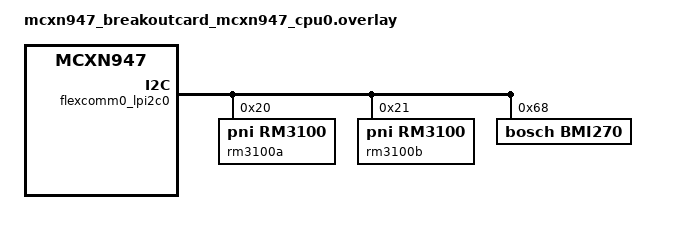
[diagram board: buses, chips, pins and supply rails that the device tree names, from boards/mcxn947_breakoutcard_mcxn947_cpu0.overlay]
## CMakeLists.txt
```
# SPDX-License-Identifier: Apache-2.0
cmake_minimum_required(VERSION 3.20.0)

list(APPEND BOARD_ROOT ${CMAKE_CURRENT_SOURCE_DIR}/)
set(BOARD "mcxn947_mag_card@1.1.0/mcxn947/cpu0")

set(VERSION_MAJOR "1")
set(VERSION_MINOR "1")
set(PATCHLEVEL "0")
set(VERSION_TWEAK "0")
set(EXTRAVERSION "00000000")

find_package(Git QUIET REQUIRED)

execute_process(
    COMMAND "${GIT_EXECUTABLE}" rev-parse --short HEAD
    WORKING_DIRECTORY "${CMAKE_SOURCE_DIR}"
    RESULT_VARIABLE res
    OUTPUT_VARIABLE EXTRAVERSION
    ERROR_QUIET
    OUTPUT_STRIP_TRAILING_WHITESPACE)

set_property(GLOBAL APPEND
    PROPERTY CMAKE_CONFIGURE_DEPENDS
    "${CMAKE_SOURCE_DIR}/.git/index")

set(BOARD_FLASH_RUNNER "probe-rs")
set(BOARD_DEBUG_RUNNER "probe-rs")

#
# utilize settings to autogenerate a header file to adjust the build inside the C code
#
configure_file (
   "${CMAKE_SOURCE_DIR}/src/VERSION.in"
   "${CMAKE_SOURCE_DIR}/VERSION"
   )

find_package(Zephyr REQUIRED HINTS $ENV{ZEPHYR_BASE})

project(oresat_mcxn947_mag)

include_directories("${PROJECT_SOURCE_DIR}") # needed so c code can find this header

target_sources(app PRIVATE src/main.c src/windowed_average.c src/gpios.c)

# Compile in various files depending on Kconfig values.
target_sources_ifdef(CONFIG_DAC_INTF     app PRIVATE src/dac.c)
target_sources_ifdef(CONFIG_ADC_INTF     app PRIVATE src/adc.c)
target_sources_ifdef(CONFIG_PWM_INTF     app PRIVATE src/pwm.c)
target_sources_ifdef(CONFIG_BLINK        app PRIVATE src/blink.c)
target_sources_ifdef(CONFIG_MAG          app PRIVATE src/magnetometer.c)
target_sources_ifdef(CONFIG_IMU_ICM      app PRIVATE src/imu_icm.c)
target_sources_ifdef(CONFIG_IMU_BMI      app PRIVATE src/imu_bmi.c)
target_sources_ifdef(CONFIG_MAGNETORQUERS app PRIVATE src/magnetorquers.c)
target_sources_ifdef(CONFIG_CAN_INTF     app PRIVATE src/can.c)
target_sources_ifdef(CONFIG_CAN_INTF     app PRIVATE src/can_util.c)
target_sources_ifdef(CONFIG_CAN_INTF     app PRIVATE objdict/CO_OD.c)
target_sources_ifdef(CONFIG_SYS_HEAP_RUNTIME_STATS app PRIVATE src/heap_stats.c)
zephyr_include_directories(objdict)
```

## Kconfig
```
# SPDX-License-Identifier: Apache-2.0

menu "Oresat MCXN947 Mag Card"

	config DAC_INTF
		bool "Enable DAC output."
		select DAC
		help
		  Enable use of DAC.

	if DAC_INTF
		module = MAG_DAC
		module-str = Mag DAC
		source "subsys/logging/Kconfig.template.log_config"
	endif # DAC_INTF

	config ADC_INTF
		bool "Enable monitoring one or more ADC channels."
		select ADC
		select DMA
		select ADC_STM32 if SOC_STM32F091XC
		select ADC_STM32_DMA if SOC_STM32F091XC
		select DMA_STM32 if SOC_STM32F091XC
		help
		  Outputs the data scaled to mV.

	if ADC_INTF
		config SEQUENCE_SAMPLES
			int "Number of samples to be made on the sequence for each channel."
			default 1

		config SEQUENCE_OVERSAMPLING
			int "Number of conversion results to average for each sample."
			default 7

		config SEQUENCE_RESOLUTION
			int "Set the resolution of the sequence readings."
			default 12

		config SEQUENCE_32BITS_REGISTERS
			bool "ADC data sequences are on 32bits"
			default n

		module = MAG_ADC
		module-str = Mag ADC
		source "subsys/logging/Kconfig.template.log_config"
	endif  # ADC_INTF

	config PWM_INTF
		bool "Enable PWM output."
		select PWM
		help
		  Enable use of PWMs.

	if PWM_INTF
		module = MAG_PWM
		module-str = Mag PWM
		source "subsys/logging/Kconfig.template.log_config"
	endif # PWM_INTF

	config BLINK
		bool "Blink an LED"
		default y
		help
		  Enable the thread which blinks an LED.

	if BLINK
		module = MAG_BLINK
		module-str = Mag Blink
		source "subsys/logging/Kconfig.template.log_config"
	endif # BLINK

	config MAG
		bool "Enable magnetometer sampling and transfer"
		default y
		help
		  Enable the Magnetometer handling.

	if MAG
		module = MAG_MM
		module-str = Mag Magnetometer
		source "subsys/logging/Kconfig.template.log_config"
	endif # MAG

	config IMU_ICM
		bool
		help
		  Use the ICM-42688 in-app driver.

	config IMU_BMI
		bool
		help
		  Use the BMI-270 Zephyr driver.

	config IMU
		bool "Enable IMU sampling and transfer"
		default y
		select IMU_ICM if !BMI270
		select IMU_BMI if BMI270
		help
		  Enable the IMU handling. BMI270 is automatically enabled
		  if the device tree includes an i2c node with
		  compatible = "bosch,bmi270". Otherwise we use our
		  ICM driver implemented in user app code rather than an
		  actual Zephyr driver.

	if IMU
		module = MAG_IMU
		module-str = Mag IMU
		source "subsys/logging/Kconfig.template.log_config"
	endif # IMU

	config MAGNETORQUERS
		bool "Enable magetorquer control"
		default y
		select DAC_INTF
		select ADC_INTF
		select PWM_INTF
		help
		  Enable the driving the magnetorquers from CAN requests.

	if MAGNETORQUERS
		if SHELL
			config MAGNETORQUER_EXPLORE
				bool "Enable interaction with target_uA or PWM while monitoring current."
				help
				  If The shell is also enabled, provide interactive means to experiment
				  with various target currents or pwm output, while onboard ADC
				  current measurements provide feedback.
		endif # SHELL

		module = MAG_TQ
		module-str = Mag TQ
		source "subsys/logging/Kconfig.template.log_config"
	endif   # MAGNETORQUERS

	config CAN_INTF
		bool "Enable sending CAN packets."
		default y
		select CAN
		select CANOPEN
		select CANOPENNODE
		select USE_STM32_HAL_FLASH if SOC_STM32F091XC
		select USE_STM32_HAL_FLASH_EX if SOC_STM32F091XC
		select USE_STM32_HAL_CAN if SOC_STM32F091XC
		help
		  Enable CAN interface and send data from CO_OD.

	if CAN_INTF && !SOC_STM32F091XC
		config MCUBOOT_ALLOWED
			bool "MCUboot allowed."
			default y
			select BOOTLOADER_MCUBOOT
			select MCUBOOT_GENERATE_UNSIGNED_IMAGE
			select FLASH
			select FLASH_MAP
			select STREAM_FLASH
			select IMG_MANAGER
			select MCUBOOT_GENERATE_CONFIRMED_IMAGE
			select CANOPENNODE_PROGRAM_DOWNLOAD
			help
			  Define helper symbol CONFIG_MCUBOOT_ALLOWED for all supported
			  architectures that have room for the required partitions in flash
			  and have those partitions defined in the device tree. This
			  eliminates the need for the user to either change prj.conf to
			  enable MCUBOOT or provide an EXTRA_CONF_FILE option to west that
			  names an overlay file.

		config CAN_ID_MUST_BE_SET
			bool "Do not contine if CAN node id not set."
			default y
			help
			  If enabled, do not perform normal functions if CAN node id
			  is not stored in settings.

		module = MAG_CAN
		module-str = Mag CAN
		source "subsys/logging/Kconfig.template.log_config"
	endif

	# the gpio.c module is always enabled
	if GPIO
		module = MAG_GPIO
		module-str = Mag GPIO
		source "subsys/logging/Kconfig.template.log_config"
	endif # GPIO

endmenu

module = MAG_APP
module-str = Mag App
source "subsys/logging/Kconfig.template.log_config"

source "Kconfig.zephyr"
```

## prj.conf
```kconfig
CONFIG_GPIO=y
CONFIG_CONSOLE=y
CONFIG_UART_CONSOLE=y
CONFIG_STDOUT_CONSOLE=y
CONFIG_ORESAT_COMMON_LIB=y
CONFIG_APPLICATION_INIT_PRIORITY=91
CONFIG_BUILD_OUTPUT_HEX=y
CONFIG_ENTROPY_GENERATOR=y

CONFIG_SYSTEM_WORKQUEUE_STACK_SIZE=2048
CONFIG_MAIN_STACK_SIZE=2048
CONFIG_HEAP_MEM_POOL_SIZE=4096

CONFIG_HWINFO=y
CONFIG_RTIO=y
CONFIG_RTIO_SYS_MEM_BLOCKS=y

CONFIG_I2C=y
CONFIG_SENSOR=y
CONFIG_SENSOR_ASYNC_API=y
# the following does not work with Zephyr 4.4.1 and RTIO; function missing in i2c_mcux_lpi2c_rtio.c
CONFIG_I2C_MCUX_LPI2C_BUS_RECOVERY=y

CONFIG_CAN_INTF=y
CONFIG_CANOPENNODE_SYNC_THREAD=n
CONFIG_CANOPENNODE_SDO_BUFFER_SIZE=889
CONFIG_CAN_DEFAULT_BITRATE=1000000

# enable boot loader
CONFIG_MCUBOOT_ALLOWED=y

CONFIG_LOG=y
CONFIG_LOG_MODE_DEFERRED=y
CONFIG_LOG_MODE_IMMEDIATE=n
CONFIG_LOG_BUFFER_SIZE=20480
CONFIG_LOG_PRINTK=y
CONFIG_CBPRINTF_FP_SUPPORT=y

CONFIG_LOG_DEFAULT_LEVEL=3

# suppress high rate warnings when no CAN host connected
CONFIG_CANOPEN_LOG_LEVEL_ERR=y
CONFIG_CAN_LOG_LEVEL_ERR=y

CONFIG_ASSERT=y

CONFIG_DEVICE_DT_METADATA=y
CONFIG_REBOOT=y
CONFIG_FAULT_DUMP=1

# changes for settings
CONFIG_FLASH=y
CONFIG_FLASH_MAP=y
CONFIG_SETTINGS=y
CONFIG_SETTINGS_RUNTIME=y
CONFIG_NVS=y
CONFIG_SETTINGS_NVS=y
CONFIG_MPU_ALLOW_FLASH_WRITE=y

# enable/disable app components
CONFIG_MAG=y
CONFIG_IMU=y
CONFIG_MAGNETORQUERS=y
CONFIG_BLINK=y

# enforce can ID cannot be default (use shell)
CONFIG_CAN_ID_MUST_BE_SET=n
```

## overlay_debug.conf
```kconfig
CONFIG_REBOOT=n
CONFIG_ASSERT=n
CONFIG_DEBUG=y

# deferred logging ensures logging has minimal affect on real-time
# responsiveness, but it consumes a lot of RAM and can easily lose
# log messages when debug logging is enabled
CONFIG_LOG_MODE_DEFERRED=n
CONFIG_LOG_MODE_IMMEDIATE=y

CONFIG_LOG_DEFAULT_LEVEL=4

# set log levels for Zephyr devices and subsystems
CONFIG_SENSOR_LOG_LEVEL_DBG=y
CONFIG_KERNEL_LOG_LEVEL_INF=y
CONFIG_CANOPEN_LOG_LEVEL_ERR=y
CONFIG_CAN_LOG_LEVEL_ERR=y
CONFIG_I2C_LOG_LEVEL_INF=y
CONFIG_ADC_LOG_LEVEL_INF=y
CONFIG_DAC_LOG_LEVEL_INF=y
CONFIG_PWM_LOG_LEVEL_INF=y

# set app and submodule specific log levels
CONFIG_MAG_APP_LOG_LEVEL_DBG=y
CONFIG_MAG_DAC_LOG_LEVEL_INF=y
CONFIG_MAG_ADC_LOG_LEVEL_INF=y
CONFIG_MAG_PWM_LOG_LEVEL_INF=y
CONFIG_MAG_BLINK_LOG_LEVEL_INF=y
CONFIG_MAG_MM_LOG_LEVEL_INF=y
CONFIG_MAG_IMU_LOG_LEVEL_INF=y
CONFIG_MAG_TQ_LOG_LEVEL_DBG=y
CONFIG_MAG_CAN_LOG_LEVEL_INF=y
CONFIG_MAG_GPIO_LOG_LEVEL_INF=y

CONFIG_APPLICATION_INIT_PRIORITY=91
CONFIG_DEBUG_THREAD_INFO=y
CONFIG_THREAD_RUNTIME_STATS=y
CONFIG_SYS_HEAP_RUNTIME_STATS=y
CONFIG_DEBUG_OPTIMIZATIONS=y
CONFIG_COVERAGE=n

CONFIG_THREAD_ANALYZER=y
CONFIG_THREAD_ANALYZER_USE_PRINTK=y
CONFIG_THREAD_ANALYZER_AUTO=y
CONFIG_THREAD_ANALYZER_AUTO_INTERVAL=300

CONFIG_INIT_STACKS=y
CONFIG_STACK_SENTINEL=y
CONFIG_STACK_CANARIES=y
#CONFIG_HW_STACK_PROTECTION=y

CONFIG_ENTROPY_GENERATOR=y

CONFIG_DEBUG_THREAD_INFO=y
CONFIG_THREAD_RUNTIME_STATS=y
CONFIG_DEBUG_OPTIMIZATIONS=y
CONFIG_COVERAGE=n

#CONFIG_DEBUG_COREDUMP=y
#CONFIG_DEBUG_COREDUMP_BACKEND_LOGGING=y
#CONFIG_DEBUG_COREDUMP_LOG_LEVEL_DBG=y
#CONFIG_DEBUG_COREDUMP_MEMORY_DUMP_THREADS=y
CONFIG_FAULT_DUMP=1
```

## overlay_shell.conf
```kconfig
# This is a special configuration to allow the shell to run in the serial terminal
# interface. It allows setting the CAN nodeid, for example.
# Build instructions:
#   west build -p -- -DEXTRA_CONF_FILE=overlay_shell.conf

CONFIG_LOG_MODE_DEFERRED=y
CONFIG_LOG_MODE_IMMEDIATE=n
CONFIG_LOG_BUFFER_SIZE=20480

CONFIG_SHELL=y
CONFIG_SHELL_LOG_BACKEND=y
CONFIG_SHELL_GETOPT=y
CONFIG_POSIX_C_LIB_EXT=y

# enable this to add i2c interface scanning, for example
CONFIG_I2C_SHELL=y

# enable shell commands for magnetorquer
CONFIG_MAGNETORQUER_EXPLORE=y
```

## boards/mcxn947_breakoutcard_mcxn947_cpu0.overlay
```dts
/**
 * 2026 Q2 mcxn947_breakoutcard overlay for mag card development work
 * 2026 Q3 add bmi270 imu
 */

#include <zephyr/dt-bindings/sensor/rm3100.h>

/ {
	aliases {
		mag0 = &rm3100a;
		mag1 = &rm3100b;
	};
};

&flexcomm0_lpi2c0 {
	rm3100a: rm3100@20 {
		compatible = "pni,rm3100";
		reg = <0x20>;
		odr = <RM3100_DT_ODR_600>;
		status = "okay";
	};
	rm3100b: rm3100@21 {
		compatible = "pni,rm3100";
		reg = <0x21>;
		odr = <RM3100_DT_ODR_600>;
		status = "okay";
	};
	bmi270: bmi270@68 {
		compatible = "bosch,bmi270";
		reg = <0x68>;
		status = "okay";
		zephyr,deferred-init;
	};
};
```

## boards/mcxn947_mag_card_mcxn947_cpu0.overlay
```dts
/*
 * 2026 Q2 mcxn947_breakoutcard overlay for mag card development work
 */

#include <zephyr/dt-bindings/sensor/rm3100.h>
#include <zephyr/dt-bindings/sensor/icm42688.h>

/ {
        aliases {
                mag0 = &rm3100a;
                mag1 = &rm3100b;
		/* imu1 = &icm42688_1; */
		imu1 = &icm42688_1;
        };
};

/delete-node/ &bme280;

&flexcomm0_lpi2c0 {
        rm3100a: rm3100@20 {
                compatible = "pni,rm3100";
                reg = <0x20>;
                odr = <RM3100_DT_ODR_600>;
                status = "okay";
        };
        rm3100b: rm3100@21 {
                compatible = "pni,rm3100";
                reg = <0x21>;
                odr = <RM3100_DT_ODR_600>;
                status = "okay";
        };
        icm42688_1: icm42688p1@d0 {
		compatible = "invensense,icm42688";
		reg = <0xd0>;
		int-gpios = <&gpio2 0 GPIO_ACTIVE_HIGH>;
		int-gpios = <&gpio2 1 GPIO_ACTIVE_HIGH>;
                accel-pwr-mode = <ICM42688_DT_ACCEL_LN>;
                accel-odr = <ICM42688_DT_ACCEL_ODR_1000>;
                accel-fs = <ICM42688_DT_ACCEL_FS_16>;
                gyro-pwr-mode = <ICM42688_DT_GYRO_LN>;
                gyro-odr = <ICM42688_DT_GYRO_ODR_1000>;
                gyro-fs = <ICM42688_DT_GYRO_FS_2000>;
                axis-align-x = <SENSOR_AXIS_ALIGN_DT_Y>;
                axis-align-y = <SENSOR_AXIS_ALIGN_DT_X>;
                axis-align-z = <SENSOR_AXIS_ALIGN_DT_Z>;
                status = "okay";
	};
};
```

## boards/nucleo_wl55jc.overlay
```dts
/*
 * 2026 Q1 RM3100 demo for Oresat Mag-card, STMicro board nucleo_wl55jc
 */

#include <zephyr/dt-bindings/sensor/rm3100.h>

/ {
        aliases {
                mag0 = &rm3100a;
                mag1 = &rm3100b;
        };
};

&i2c2 {
        status = "okay";
        clock-frequency = <DT_FREQ_K(100)>;
        rm3100a: rm3100@20 {
                compatible = "pni,rm3100";
                reg = <0x20>;
                odr = <RM3100_DT_ODR_600>;
                status = "okay";
        };
        rm3100b: rm3100@21 {
                compatible = "pni,rm3100";
                reg = <0x21>;
                odr = <RM3100_DT_ODR_600>;
                status = "okay";
        };
};
```

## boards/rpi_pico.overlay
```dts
/*
 * 2026 Q1 RM3100 demo for Oresat Mag-card
 */

#include <zephyr/dt-bindings/sensor/rm3100.h>

/ {
        aliases {
                mag0 = &rm3100;
        };
};

&i2c0 {
        status = "okay";

        clock-frequency = <DT_FREQ_K(100)>;
        rm3100: rm3100@20 {
                compatible = "pni,rm3100";
                reg = <0x20>;
                odr = <RM3100_DT_ODR_600>;
                status = "okay";
        };
};
```

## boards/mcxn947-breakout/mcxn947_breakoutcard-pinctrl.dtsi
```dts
/*
 * Copyright 2024 NXP
 * SPDX-License-Identifier: Apache-2.0
 */


#include <nxp/mcx/MCXN947VNL-pinctrl.h>

&pinctrl {
	pinmux_flexcomm0_lpi2c: pinmux_flexcomm0_lpi2c {
		group0 {
			pinmux = <FC0_P0_PIO0_16>,
				<FC0_P1_PIO0_17>;
			slew-rate = "fast";
			drive-strength = "low";
			input-enable;
			bias-pull-up;
			drive-open-drain;
		};
	};

	pinmux_flexcomm3_lpspi: pinmux_flexcomm3_lpspi {
		group0 {
			pinmux = <FC3_P0_PIO1_0>,
				<FC3_P1_PIO1_1>,
				<FC3_P2_PIO1_2>,
				<FC3_P3_PIO1_3>;
			slew-rate = "fast";
			drive-strength = "low";
			input-enable;
		};
	};

	pinmux_flexcomm2_lpi2c: pinmux_flexcomm2_lpi2c {
		group0 {
			pinmux = <FC2_P0_PIO4_0>,
				<FC2_P1_PIO4_1>;
			slew-rate = "fast";
			drive-strength = "low";
			input-enable;
			bias-pull-up;
			drive-open-drain;
		};
	};

	pinmux_flexcomm2_lpuart: pinmux_flexcomm2_lpuart {
		group0 {
			pinmux = <FC2_P2_PIO4_2>,
				<FC2_P3_PIO4_3>;
			slew-rate = "fast";
			drive-strength = "low";
			input-enable;
		};
	};

	pinmux_flexcomm4_lpuart: pinmux_flexcomm4_lpuart {
		group0 {
			pinmux = <FC4_P0_PIO1_8>,
				<FC4_P1_PIO1_9>;
			slew-rate = "fast";
			drive-strength = "low";
			input-enable;
		};
	};

	pinmux_flexspi: pinmux_flexspi {
		group0 {
			pinmux = <FLEXSPI0_A_SS0_b_PIO3_0>,
					<FLEXSPI0_A_SCLK_PIO3_7>,
					<FLEXSPI0_A_DQS_PIO3_6>,
					<FLEXSPI0_A_DATA0_PIO3_8>,
					<FLEXSPI0_A_DATA1_PIO3_9>;
			input-enable;
			slew-rate = "fast";
			drive-strength = "low";
		};
		group1 {
			pinmux = <FLEXSPI0_A_DATA2_PIO3_10>,
					<FLEXSPI0_A_DATA3_PIO3_11>;
			input-enable;
			slew-rate = "fast";
			drive-strength = "low";
			bias-pull-up;
		};
	};

	pinmux_dac0: pinmux_dac0 {
		group0 {
			pinmux = <DAC0_OUT_PIO4_2>;
			drive-strength = "low";
			slew-rate = "fast";
		};
	};

	pinmux_flexpwm1_pwm0: pinmux_flexpwm1_pwm0 {
		group0 {
			pinmux = <PWM1_A0_PIO2_6>,
				<PWM1_B0_PIO2_7>;
			slew-rate = "fast";
			drive-strength = "low";
		};
	};

	pinmux_flexpwm1_pwm1: pinmux_flexpwm1_pwm1 {
		group0 {
			pinmux = <PWM1_A1_PIO2_4>,
				<PWM1_B1_PIO2_5>;
			slew-rate = "fast";
			drive-strength = "low";
		};
	};

	pinmux_flexpwm1_pwm2: pinmux_flexpwm1_pwm2 {
		group0 {
			pinmux = <PWM1_A2_PIO2_2>,
				<PWM1_B2_PIO2_3>;
			slew-rate = "fast";
			drive-strength = "low";
		};
	};

	pinmux_usdhc0: pinmux_usdhc0 {
		group0 {
			pinmux = <SDHC0_CMD_PIO2_5>,
			       <SDHC0_D0_PIO2_3>,
			       <SDHC0_D1_PIO2_2>,
			       <SDHC0_D2_PIO2_7>,
			       <SDHC0_D3_PIO2_6>;
			slew-rate = "fast";
			drive-strength = "low";
			bias-pull-up;
			input-enable;
		};
		group1 {
			pinmux = <SDHC0_CLK_PIO2_4>;
			slew-rate = "fast";
			drive-strength = "low";
			input-enable;
		};
	};

	pinmux_lpadc0: pinmux_lpadc0 {
		group0 {
			pinmux = <ADC0_A1_PIO4_15>,
                     <ADC0_A2_PIO4_23>;
			slew-rate = "fast";
			drive-strength = "low";
		};
	};

	pinmux_lpcmp0: pinmux_lpcmp0 {
		group0 {
			pinmux = <CMP0_IN0_PIO1_0>;
			drive-strength = "low";
			slew-rate = "fast";
			bias-pull-up;
		};
	};

	pinmux_flexcan0: pinmux_flexcan0 {
		group0 {
			pinmux = <CAN0_TXD_PIO1_10>,
				<CAN0_RXD_PIO1_11>;
			slew-rate = "fast";
			drive-strength = "low";
			input-enable;
		};
	};

	pinmux_sctimer: pinmux_sctimer {
		group0 {
			pinmux = <SCT0_OUT0_PIO2_2>;
			slew-rate = "fast";
			drive-strength = "low";
			input-enable;
		};
	};
};
```

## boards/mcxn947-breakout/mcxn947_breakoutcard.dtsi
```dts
/*
 * Copyright 2024 NXP
 *
 * SPDX-License-Identifier: Apache-2.0
 */

#include "mcxn947_breakoutcard-pinctrl.dtsi"
#include <zephyr/dt-bindings/i2c/i2c.h>
#include <zephyr/dt-bindings/input/input-event-codes.h>


/ {
	oresat_demo: oresat-demo-enabled {}; // Enable demos for supported boards
	aliases{
		led0 = &red_led;
	};

	leds {
		compatible = "gpio-leds";
		red_led: led_1 {
			gpios = <&gpio1 13 GPIO_ACTIVE_LOW>;
			label = "Red LED";
			status = "okay";
		};
	};
};

&flexcomm3_lpspi3 {
	pinctrl-0 = <&pinmux_flexcomm3_lpspi>;
	pinctrl-names = "default";
};

&flexcomm2_lpuart2 {
	current-speed = <115200>;
	pinctrl-0 = <&pinmux_flexcomm2_lpuart>;
	pinctrl-names = "default";
	status = "disabled";
};

&flexcomm0_lpi2c0 {
	pinctrl-0 = <&pinmux_flexcomm0_lpi2c>;
	pinctrl-names = "default";
	clock-frequency = <I2C_BITRATE_STANDARD>;
};

&flexcomm4_lpuart4 {
	status = "okay";
	current-speed = <115200>;
	pinctrl-0 = <&pinmux_flexcomm4_lpuart>;
	pinctrl-names = "default";
};

/*
 * MCXN947 board uses OS timer as the kernel timer
 * In case we need to switch to SYSTICK timer, then
 * replace &os_timer with &systick
 */
&os_timer {
	status = "disabled";
};

&systick {
	status = "okay";
};

&sram {
	sramg: memory@20050000 {
		compatible = "mmio-sram";
		reg = <0x20050000 DT_SIZE_K(64)>;
	};
	sramh: memory@20060000 {
		compatible = "mmio-sram";
		reg = <0x20060000 DT_SIZE_K(32)>;
	};
};

&flash {
	partitions {
		compatible = "fixed-partitions";
		#address-cells = <1>;
		#size-cells = <1>;

		/*
		 * Partition sizes must be aligned
		 * to the flash memory sector size of 8KB.
		 */
		boot_partition: partition@0 {
			label = "mcuboot";
			reg = <0x00000000 DT_SIZE_K(80)>;
		};
		slot0_partition: partition@14000 {
			label = "image-0";
			reg = <0x00014000 DT_SIZE_K(968)>;
		};
		slot1_partition: partition@10A000 {
			label = "image-1";
			reg = <0x0010A000 DT_SIZE_K(968)>;
		};
		storage_partition: partition@1fc000 {
			label = "storage";
			reg = <0x001fc000 DT_SIZE_K(16)>;
		};
	};
};

&flexspi {
	pinctrl-0 = <&pinmux_flexspi>;
	pinctrl-names = "default";
	ahb-prefetch;
	ahb-bufferable;
	ahb-cacheable;
	ahb-read-addr-opt;
	combination-mode;
	rx-clock-source = <1>;
};

&dac0 {
	pinctrl-0 = <&pinmux_dac0>;
	pinctrl-names = "default";
};

&flexpwm1_pwm0 {
	pinctrl-0 = <&pinmux_flexpwm1_pwm0>;
	pinctrl-names = "default";
};

&usdhc0 {
	pinctrl-0 = <&pinmux_usdhc0>;
	pinctrl-1 = <&pinmux_usdhc0>;
	pinctrl-2 = <&pinmux_usdhc0>;
	cd-gpios = <&gpio2 1 GPIO_ACTIVE_LOW>;
	pinctrl-names = "default", "slow", "med";
	no-1-8-v;
};

&lpadc0 {
	pinctrl-0 = <&pinmux_lpadc0>;
	pinctrl-names = "default";
};

&lpcmp0 {
	pinctrl-0 = <&pinmux_lpcmp0>;
	pinctrl-names = "default";
};

&flexcan0 {
	pinctrl-0 = <&pinmux_flexcan0>;
	pinctrl-names = "default";
};

&sc_timer {
	pinctrl-0 = <&pinmux_sctimer>;
	pinctrl-names = "default";
};
```

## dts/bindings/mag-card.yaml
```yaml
# Oresat mag card
# TODO: replace below with proper gpios for mag card; these are from the proto card

description: Oresat mag card

compatible: "mag-card"

properties:
  mag-ready-gpios:
    type: phandle-array
    required: true
    description: GPIO input or output.

  n-mag-fault-gpios:
    type: phandle-array
    required: true
    description: GPIO input or output.

  n-mag-en-gpios:
    type: phandle-array
    required: true
    description: GPIO input or output.

  mt-en-gpios:
    type: phandle-array
    required: true
    description: GPIO input or output.

  n-mt-en-fault-gpios:
    type: phandle-array
    required: true
    description: GPIO input or output.

  n-mt-stby-rst-gpios:
    type: phandle-array
    required: true
    description: GPIO input or output.

  mt-z-phase-gpios:
    type: phandle-array
    required: true
    description: GPIO input or output.

  mt-y-phase-gpios:
    type: phandle-array
    required: true
    description: GPIO input or output.

  mt-x-phase-gpios:
    type: phandle-array
    required: true
    description: GPIO input or output.

  hw-rev-bit-0-gpios:
    type: phandle-array
    required: true
    description: GPIO input or output.

  hw-rev-bit-1-gpios:
    type: phandle-array
    required: true
    description: GPIO input or output.

  hw-rev-bit-2-gpios:
    type: phandle-array
    required: true
    description: GPIO input or output.

  tcan-nfault-oc-gpios:
    type: phandle-array
    required: true
    description: GPIO input or output.

  tcan-silent-gpios:
    type: phandle-array
    required: true
    description: GPIO input or output.
```

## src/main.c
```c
/*
 * main.c
 *
 * Simple main that only logs a bootup message. The remainder
 * of the functionality is implemented as independent threads in
 * blink.c and others.
 *
 * These can be disabled at compile time by adding:
 *   CONFIG_BLINK=n
 * for example, to prj.conf. See Kconfig for the options or run
 * west build -t menuconfig for an interacive configuration
 * editor.
 */

#include <zephyr/kernel.h>
#include <zephyr/drivers/hwinfo.h>
#include <zephyr/logging/log.h>
#include <version.h>
#include <app_version.h>

LOG_MODULE_REGISTER(oresat_mcxn947_mag, CONFIG_MAG_APP_LOG_LEVEL);

/** Dump Hardware Info
 *    Show the unique processor id and the reason for reset.
 *
 *    This requires:
 *    #include <zephyr/drivers/hwinfo.h>
 *    prj.conf:
 *    CONFIG_HWINFO=y
 *    Names of reset cause bits defined in same header; e.g.
 *    RESET_POR
 **/
static void dump_hwinfo(void)
{
	uint8_t hwid[32] = {0};
	uint32_t reset_cause;
	int reset_cause_ret;
	int hwid_len;

	hwid_len = hwinfo_get_device_id(hwid,sizeof(hwid)); // returns size of the device id
	reset_cause_ret = hwinfo_get_reset_cause(&reset_cause);
	if (!reset_cause_ret) {
		hwinfo_clear_reset_cause();
	}

	if (hwid_len < 0) {
		LOG_ERR("    Chip     HWID: UNNKOWN (%d", hwid_len);
	} else {
		LOG_HEXDUMP_INF(hwid, hwid_len, "    Chip     HWID: ");
	}
	if (reset_cause_ret < 0) {
		LOG_ERR("      Reset Cause: UNKNOWN (%d)", reset_cause_ret);
	} else {
		LOG_INF("      Reset Cause: 0x%08x", reset_cause);
	}
}

int main(void)
{
	LOG_INF("Oresat MCXN947 Mag Board App");
	LOG_INF("   Oresat   Board: %s", CONFIG_BOARD_TARGET);
	dump_hwinfo();
	LOG_INF("   App    Version: %s", APP_VERSION_STRING);
	LOG_INF("   Zephyr Version: %s", KERNEL_VERSION_STRING);

	return 0;
}
```

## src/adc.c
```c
/**
 * adc.c
 *
 * Original code came from zephyr/samples/driver/adc_sequence.
 *
 * Modified slightly to run as a thread and use logging.
 */

#include <stdio.h>
#include <zephyr/kernel.h>
#include <zephyr/sys/printk.h> 
#include <zephyr/sys/__assert.h>

#include <zephyr/device.h>
#include <zephyr/devicetree.h>
#include <zephyr/dsp/print_format.h>
#include <zephyr/drivers/adc.h>
#include <zephyr/logging/log.h>

LOG_MODULE_REGISTER(oresat_adc, CONFIG_MAG_ADC_LOG_LEVEL);

#define MAX_ADC_READ_TRIES 10

/* ADC node from the devicetree. */
#define ADC_NODE0 DT_ALIAS(adc0)
#define ADC_NODE1 DT_ALIAS(adc1)

/* Auxiliary macro to obtain channel vref, if available. */
#define CHANNEL_VREF(node_id) DT_PROP_OR(node_id, zephyr_vref_mv, 0)

/* Data of ADC device specified in devicetree. */
static const struct device *adc_devs[] = {
	DEVICE_DT_GET(ADC_NODE0),
	DEVICE_DT_GET(ADC_NODE1)
};
#define ADC_DEV_COUNT 2

/* Data array of ADC channels for the specified ADC. */
static const struct adc_channel_cfg channel_cfgs_dev_0[] = {
	DT_FOREACH_CHILD_SEP(ADC_NODE0, ADC_CHANNEL_CFG_DT, (,))
};
static const struct adc_channel_cfg channel_cfgs_dev_1[] = {
	DT_FOREACH_CHILD_SEP(ADC_NODE1, ADC_CHANNEL_CFG_DT, (,))
};
#define CHANNEL_COUNT_DEV_0 ARRAY_SIZE(channel_cfgs_dev_0)
#define CHANNEL_COUNT_DEV_1 ARRAY_SIZE(channel_cfgs_dev_1)
#define CHANNEL_COUNT (CHANNEL_COUNT_DEV_0 + CHANNEL_COUNT_DEV_1)
#define MAX_CHANNEL_DEV_COUNT MAX(CHANNEL_COUNT_DEV_0, CHANNEL_COUNT_DEV_1)
static int adc_channel_counts[ADC_DEV_COUNT] = {
	CHANNEL_COUNT_DEV_0, CHANNEL_COUNT_DEV_1
};
static const struct adc_channel_cfg *adc_channel_cfgs[ADC_DEV_COUNT] = {
	channel_cfgs_dev_0, channel_cfgs_dev_1
};

/* Data array of ADC channel voltage references. */
static uint32_t vrefs_mv_dev_0[] = {
	DT_FOREACH_CHILD_SEP(ADC_NODE0, CHANNEL_VREF, (,))
};
static uint32_t vrefs_mv_dev_1[] = {
	DT_FOREACH_CHILD_SEP(ADC_NODE1, CHANNEL_VREF, (,))
};
#define ADC_VREF_DEV_0_COUNT ARRAY_SIZE(vrefs_mv_dev_0)
#define ADC_VREF_DEV_1_COUNT ARRAY_SIZE(vrefs_mv_dev_1)
#define ADC_VREF_COUNT (ADC_VREF_DEV_0_COUNT + ADC_VREF_DEV_1_COUNT)
#define MAX_ADC_VREF_COUNT MAX(ADC_VREF_DEV_0_COUNT, ADC_VREF_DEV_1_COUNT)
static int adc_vref_counts[ADC_DEV_COUNT] = {
	ADC_VREF_DEV_0_COUNT, ADC_VREF_DEV_1_COUNT
};
static uint32_t *adc_vref_mvs[ADC_DEV_COUNT] = {
	vrefs_mv_dev_0, vrefs_mv_dev_1
};

struct adc_info; // forward decl

// structure to tie together various Zephyr device structures and adc structures
typedef struct adc_dev_info {
	const struct device *dev;
	uint32_t num_vrefs;
	uint32_t *vrefs_mv;						// pointer to an array of num_vrefs uint32_t mV values
	uint32_t num_ch;						// number used in the adc_channel_cfg array
	const struct adc_channel_cfg *config;	// pointer to num_ch adc_channel_cfg structures
	struct adc_sequence sequence;
#ifdef CONFIG_SEQUENCE_32BITS_REGISTERS
	uint32_t channel_reading[CONFIG_SEQUENCE_SAMPLES][CHANNEL_COUNT];
#else
	uint16_t channel_reading[CONFIG_SEQUENCE_SAMPLES][CHANNEL_COUNT];
#endif
} adc_dev_info;

static adc_dev_info adc_dev_infos[ADC_DEV_COUNT];

// structure to map the user interface to this file to the multiple adc devices and their channels
// this allows the user to specify adc_num 0, 1, or 2, and have them map properly to the interals
typedef struct adc_info {
	adc_dev_info *adcdev;
	uint16_t adc_dev_num;	// number of the ADC device (index into adc_devs[])
	uint16_t ch_num;		// number of the channel on that device
} adc_info;

static adc_info adc_info_map[CHANNEL_COUNT];

// Renumber the outside interface to match reality (adc number 0 and 2 seem swapped somewhere.
// TODO: fix.
static int log_to_phys[CHANNEL_COUNT];

/* Options for the sequence sampling. */
static const struct adc_sequence_options options = {
	.extra_samplings = CONFIG_SEQUENCE_SAMPLES - 1,
	.interval_us = 0,
};

static void init_adc_info(void)
{
	LOG_DBG("Mapping ADC info...");
	LOG_DBG("ADC_DEV_COUNT:%d, CH_CNT_D0:%d, CH_CNT_D1:%d, CH_CNT:%d, MAX_CH_CNT:%d",
			ADC_DEV_COUNT, CHANNEL_COUNT_DEV_0, CHANNEL_COUNT_DEV_1, CHANNEL_COUNT, MAX_CHANNEL_DEV_COUNT);
	LOG_DBG("ADC_VREF_D0:%d, ADC_VREF_D1:%d, ADC_VREF_COUNT:%d",
			ADC_VREF_DEV_0_COUNT, ADC_VREF_DEV_1_COUNT, ADC_VREF_COUNT);

	uint32_t channel_bitmask;
	adc_dev_info *padi = adc_dev_infos;
	int adc_index = 0; // index into adc_info_map
	int i;
	int j;

	for (i = 0; i < ADC_DEV_COUNT; i++) {
		padi->dev = adc_devs[i];
		padi->num_vrefs = adc_vref_counts[i];
		padi->vrefs_mv = adc_vref_mvs[i];
		padi->num_ch = adc_channel_counts[i];
		padi->config = adc_channel_cfgs[i];

		channel_bitmask = 0;
		for (j = 0; j < padi->num_ch; j++) {
			channel_bitmask |= BIT(padi->config[j].channel_id);
			adc_info_map[adc_index].adcdev = padi;
			adc_info_map[adc_index].adc_dev_num = i;
			adc_info_map[adc_index].ch_num = j;
			adc_index++;
		}

		padi->sequence.options = &options;
		padi->sequence.channels = channel_bitmask;
		padi->sequence.buffer = padi->channel_reading;
		padi->sequence.buffer_size = sizeof(padi->channel_reading);
		padi->sequence.resolution = CONFIG_SEQUENCE_RESOLUTION;
		padi->sequence.oversampling = CONFIG_SEQUENCE_OVERSAMPLING;
		padi->sequence.calibrate = 0;

		LOG_DBG("ADC%d (%s): num_vrefs:%u, num_ch:%u, bitmask:0x%08x, res:%u, ave:%u, buf:%p, buf_size:%d",
				i, padi->dev->name, padi->num_vrefs, padi->num_ch, padi->sequence.channels,
				padi->sequence.resolution, padi->sequence.oversampling,
				padi->sequence.buffer, padi->sequence.buffer_size);

		padi++;
	}
	if (adc_index == 3) {
		log_to_phys[0] = 2;
		log_to_phys[1] = 1;
		log_to_phys[2] = 0;
	}
	for (i = 0; i < adc_index; i++) {
		int phys = log_to_phys[i];
		LOG_DBG("adc_info_map[%d]: padi:%p, logidx:%d, physidx:%d, dev:%d(%s)",
				i, adc_info_map[i].adcdev, i, phys,
				adc_info_map[phys].adc_dev_num, adc_info_map[phys].adcdev->dev->name);
	}
}

int get_num_adc_channels(void)
{
	return CHANNEL_COUNT;
}

int init_adc(void)
{
	int err = 0;
	const struct device *adc;
	adc_dev_info *padi;
	const struct adc_channel_cfg *config;
	int i;
	int j;

	init_adc_info();

	LOG_INF("Channels: %d, sequence samples: %d, resolution: %d",
		   CHANNEL_COUNT, CONFIG_SEQUENCE_SAMPLES, CONFIG_SEQUENCE_RESOLUTION);

	for (i = 0U; i < ADC_DEV_COUNT; i++) {
		adc = adc_devs[i];
		if (!device_is_ready(adc)) {
			LOG_ERR("ADC controller device %s not ready", adc->name);
			err = -ENODEV;
			continue;
		}
		padi = &adc_dev_infos[i];
		LOG_INF("Init adc%d: %s, num_ch:%d, num_vref:%d", i, adc->name, padi->num_ch, padi->num_vrefs);
	}

	for (i = 0U; i < ADC_DEV_COUNT; i++) {
		adc = adc_devs[i];
		padi = &adc_dev_infos[i];
		for (j = 0; j < padi->num_ch; j++) {
			LOG_INF("  Init ch:%d", j);
			config = &padi->config[j];
			err = adc_channel_setup(adc, &padi->config[j]);
			if (err < 0) {
				LOG_ERR("Could not setup channel #%d (%d)\n", i, err);
				return 0;
			}
			#ifdef CONFIG_ADC_CONFIGURABLE_INPUTS
			LOG_INF("  Channel: %u, gain: %u, acq time: %u, diff: %u, inp_pos: %u, inp_neg: %u",
					config->channel_id, config->gain, config->acquisition_time,
					config->differential, config->input_positive, config->input_negative);
			#else
			LOG_INF("  Channel: %u, gain: %u, acq time: %u, diff: %u",
					config->channel_id, config->gain, config->acquisition_time,
					config->differential);
			#endif
		}

		for (int k = 0; k < padi->num_vrefs; padi++) {
			if ((padi->vrefs_mv[k] == 0) && (padi->config->reference == ADC_REF_INTERNAL)) {
				padi->vrefs_mv[k] = adc_ref_internal(adc);
			}
			LOG_INF("  Vref: %u, vref_mv: %u", k, padi->vrefs_mv[k]);
		}
	}
	return err;
}

int acquire_adc_readings(void)
{
	int err;
	int i;
	int count = 0;
	adc_dev_info *padi = adc_dev_infos;

	for (i = 0; i < ADC_DEV_COUNT; i++) {
		LOG_DBG("Requesting read from adc%d", i);
		do {
			err = adc_read(padi->dev, &padi->sequence);
			if (err < 0) {
				k_sleep(K_MSEC(100));
				//LOG_ERR("Could not read (%d)", err);
			}
		} while (err && (count++ < MAX_ADC_READ_TRIES));
		if (err) {
			LOG_ERR("Failed to read after %d tries; error %d", count, err);
		}
		padi++;
	}
	return err;
}

int read_adc(unsigned int log_adc_num, int32_t *val_mv)
{
	int err;
	uint32_t raw;
	uint32_t raw_sum = 0;
	int num_samples = 0;
	int32_t val_tmp;
	adc_info *info;
	adc_dev_info *padi;
	int phys_adc_num = log_to_phys[log_adc_num];

	if (log_adc_num >= CHANNEL_COUNT) {
		LOG_ERR("Incorrect adc number set:%u; max is:%u", log_adc_num, CHANNEL_COUNT);
		return -ENODEV;
	}
	info = &adc_info_map[phys_adc_num];
	padi = info->adcdev;

	*val_mv = 0;

	for (size_t sample_index = 0U; sample_index < CONFIG_SEQUENCE_SAMPLES; sample_index++) {
		raw_sum += padi->channel_reading[sample_index][info->ch_num];
		num_samples++;
	}
	raw = raw_sum / num_samples;

	val_tmp = raw;
	err = adc_raw_to_millivolts(padi->vrefs_mv[info->ch_num],
								padi->config->gain,
								CONFIG_SEQUENCE_RESOLUTION, &val_tmp);
	if (err) {
		LOG_ERR("Error converting raw adc to mV: %d", err);
		return -ENODATA;
	}
	*val_mv = val_tmp;

	LOG_DBG("log:%d, phys:%d, dev:%d(%s), ch:%d, mV: %u, raw: %u",
			log_adc_num, phys_adc_num,
			info->adc_dev_num, padi->dev->name, info->ch_num,
			*val_mv, raw);
	return 0;
}
```

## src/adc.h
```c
#if !defined(_ADC_H_)
#define _ADC_H_

int get_num_adc_channels(void);

int init_adc(void);

int acquire_adc_readings(void);

int read_adc(unsigned int adc_num, int32_t *val_mv);

#endif
```

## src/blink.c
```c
/**
 * blink.c
 *
 * Code came from https://github.com/Blen-E/pracblink, which
 * originally from zephyr/samples/basic/blinky.
 *
 * Modified slightly to run as a thread and use logging.
 */
#include <stdio.h>
#include <zephyr/kernel.h>
#include <zephyr/drivers/gpio.h>
#include <zephyr/sys/printk.h>
#include <zephyr/sys/__assert.h>

#include <zephyr/device.h>
#include <zephyr/devicetree.h>
#include <zephyr/logging/log.h>

LOG_MODULE_REGISTER(oresat_blink, CONFIG_MAG_BLINK_LOG_LEVEL);

/* size of stack area used by each thread */
#define STACKSIZE 1024

/* scheduling priority used by each thread */
#define PRIORITY 7

/* 1000 msec = 1 sec */
#define LED_SLEEP_TIME_MS   1000

/* The devicetree node identifier for the "led0" alias. */
#define LED0_NODE DT_ALIAS(led0)

static int handle_blink(void)
{
	int ret;
	const struct gpio_dt_spec led = GPIO_DT_SPEC_GET(LED0_NODE, gpios);

	LOG_INF("Starting blink demo");

	/* Can we use the LED? */
	if (!device_is_ready(led.port)) {
		LOG_ERR("LED device is not ready");
		return -1;
	}

	/* Set it up */
	ret = gpio_pin_configure_dt(&led, GPIO_OUTPUT_ACTIVE);
	if (ret < 0) {
		LOG_ERR("Could not configure the LED GPIO pin: %d", ret);
		return ret;
	}

	/* Thread loop */
	while (1) {
		gpio_pin_toggle_dt(&led);
		LOG_DBG("The light is blinking!");
		k_msleep(LED_SLEEP_TIME_MS);
	}
	return 0;
}

K_THREAD_DEFINE(blink_id, STACKSIZE, handle_blink, NULL, NULL, NULL, PRIORITY, 0, 0);
```

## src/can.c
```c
#include <zephyr/kernel.h>
#include <zephyr/device.h>
#include <zephyr/sys/reboot.h>
#include <zephyr/sys/printk.h>
#include <zephyr/drivers/gpio.h>
#include <zephyr/dfu/mcuboot.h>
#include <zephyr/settings/settings.h>
#include <zephyr/logging/log.h>
#include <canopennode.h>
#include <CO_OD.h>
//#include <board_sensors.h>
#include <oresat.h>

#include "can_util.h"
#include "gpios.h"

LOG_MODULE_REGISTER(can_thread, CONFIG_MAG_CAN_LOG_LEVEL);

#define CAN_INTERFACE (DEVICE_DT_GET(DT_CHOSEN(zephyr_canbus)))
#define CAN_BITRATE (DT_PROP_OR(DT_CHOSEN(zephyr_canbus), bitrate, \
					 DT_PROP_OR(DT_CHOSEN(zephyr_canbus), bus_speed, \
								CONFIG_CAN_DEFAULT_BITRATE) / 1000))

#define CAN_THREAD_STACK_SIZE 2048
#define CAN_THREAD_PRIORITY 0
#define CAN_STARTUP_DELAY_MS 250

#define MAX_FAULT_PRINTS 10

extern const k_tid_t can_id;

static bool run_self_tests(void)
{
	LOG_INF("Running system self-tests...");

	// Placeholder for board/app-specific checks
	bool tests_passed = true;

	return tests_passed;
}

static void handle_can(void *p1, void *p2, void *p3)
{
	int err;
	uint16_t timeout;
	uint32_t elapsed = 0U;
	int64_t timestamp;
	CO_NMT_reset_cmd_t reset = CO_RESET_NOT;
	struct canopen_context can = {.dev = CAN_INTERFACE};
	uint8_t node_id = DEFAULT_NODE_ID;
	int print_fault = 0;

	k_thread_name_set(can_id, "can_thread");
	k_sleep(K_MSEC(CAN_STARTUP_DELAY_MS));

	LOG_INF("Starting CAN thread");

	err = init_gpios();
	if (err) {
		// We will not know what hardware we are running on for certain.
		// But for CAN, that just means we will assume we cannot query the CAN hardware fault line,
		// nor can we control CAN silence.
		LOG_WRN("Could not initialize general GPIOs: %d", err);
	}

	err = init_can_gpios();
	if (err) {
		// Not a fatal error -- GPIOs are optional (hardware fault reporting and sleep control)
		LOG_WRN("Error initializing CAN GPIOs: %d", err);
	}

	err = settings_subsys_init();
	if (err) {
		// We should not continue because we will not be able to use the proper CAN node id,
		// nor, if the shell is enabled, will we be able to store a selected id.
		LOG_ERR("settings subsys initialization: fail (err %d)", err);
		goto fatal_error;
	} else {
		node_id = load_node_id();
		if (node_id == DEFAULT_NODE_ID) {
			LOG_WRN("CAN node id has not been set!");
#if defined(CONFIG_SHELL)
			LOG_WRN("--> Use shell command to set (type help).");
#else
			LOG_WRN("--> Firmware not built with CONFIG_SHELL=y. Rebuild and flash to update CAN node id.");
#endif
			if (IS_ENABLED(CONFIG_CAN_ID_MUST_BE_SET)) {
				LOG_ERR("Halting.");
				goto fatal_error;
			}
		}
	}

	// Confirm a newly booted MCUboot image if self-tests pass
	if (!IS_ENABLED(CONFIG_BOOTLOADER_MCUBOOT)) {
		/* do nothing */
	} else if (!boot_is_img_confirmed()) {
		LOG_INF("New firmware detected. Pending confirmation.");

		if (run_self_tests()) {
			LOG_INF("Self-tests passed. Confirming image.");
			int rc = boot_write_img_confirmed();
			if (rc < 0) {
				LOG_ERR("Failed to confirm MCUboot image: %d", rc);
			}
		} else {
			LOG_ERR("Self-tests failed.");
			k_msleep(500); // Let logs flush
#if defined(CONFIG_REBOOT)
			LOG_ERR("Rebooting to revert firmware...");
			sys_reboot(SYS_REBOOT_COLD);
#else
			LOG_ERR("Please reboot to revert firmware.");
#endif
		}
	} else {
		LOG_INF("Firmware already confirmed.");
	}

	oresat_fix_pdo_cob_ids(node_id);

	LOG_DBG("Opening CAN device");
	if (!device_is_ready(can.dev)) {
		LOG_ERR("CAN interface is not ready");
		goto fatal_error;
	}

	set_can_normal(); // if using a newer board, tell the TCAN337 to not be silent

	LOG_INF("Starting CANopenNode (node_id=0x%02x, bitrate=%u kbps)",
			(unsigned)node_id, (unsigned)CAN_BITRATE);

	while (reset != CO_RESET_APP) {
		elapsed = 0U;

		err = CO_init(&can, node_id, CAN_BITRATE);
		if (err != CO_ERROR_NO) {
			LOG_ERR("CO_init failed (err = %d)", err);
			goto fatal_error;
		}

		if (IS_ENABLED(CONFIG_BOOTLOADER_MCUBOOT)) {
			canopen_program_download_attach(CO->NMT, CO->SDO[0], CO->em);
		}
		CO_CANsetNormalMode(CO->CANmodule[0]);

		LOG_INF("Waiting for CANopen requests...");

		while (true) {
			bool_t syncWas = false;

			timeout = 1U;
			timestamp = k_uptime_get();

			if (get_can_fault()) {
				// TODO: should we do anything, or is it caught by CO_isError() below?
				// Investigate and modify if needed.
				if (print_fault < MAX_FAULT_PRINTS) {
					print_fault++;
					LOG_WRN("CAN HW FAULT");
				}
			} else {
				print_fault = 0; // ensure we print spurious errors mixed with normal operation
			}

			if (CO_isError(CO->em, CO_EM_CAN_TX_OVERFLOW)) {
				CO_errorReset(CO->em, CO_EM_CAN_TX_OVERFLOW, 111);
			}

			reset = CO_process(CO, (uint16_t)elapsed, &timeout);
			if (reset != CO_RESET_NOT) {
				break;
			}

			if (timeout > 0) {
				/* Read inputs */
				CO_process_RPDO(CO, syncWas);

				/* Write outputs */
				CO_process_TPDO(CO, syncWas, timeout * 1000U);

				k_sleep(K_MSEC(timeout));
				elapsed = (uint32_t)k_uptime_delta(&timestamp);
			} else {
				elapsed = 0U;
			}
		}
		if (reset == CO_RESET_COMM) {
			LOG_INF("Resetting communication");
		}
	}

	// The CAN host asked us to reset ourselves. Clean up and then do so (if enabled in this build).
	CO_delete(&can);
#if defined(CONFIG_REBOOT)
	sys_reboot(SYS_REBOOT_COLD);
#endif

fatal_error:
	k_msleep(1000);
	__ASSERT(false, "Fatal error");
}

K_THREAD_DEFINE(can_id, CAN_THREAD_STACK_SIZE, handle_can, NULL, NULL, NULL, CAN_THREAD_PRIORITY, 0, 0);
```

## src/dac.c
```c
/**
 * dac.c
 *
 * Original code came from zephyr/samples/driver/dac.
 *
 */
#include <stdio.h>
#include <zephyr/kernel.h>
#include <zephyr/sys/printk.h>
#include <zephyr/sys/__assert.h>

#include <zephyr/device.h>
#include <zephyr/devicetree.h>
#include <zephyr/drivers/sensor.h>
#include <zephyr/drivers/sensor_data_types.h>
#include <zephyr/rtio/rtio.h>
#include <zephyr/dsp/print_format.h>
#include <zephyr/drivers/dac.h>
#include <zephyr/drivers/adc.h>
#include <zephyr/logging/log.h>

LOG_MODULE_REGISTER(oresat_dac, CONFIG_MAG_DAC_LOG_LEVEL);

#define ZEPHYR_USER_NODE DT_PATH(zephyr_user)

#if (DT_NODE_HAS_PROP(ZEPHYR_USER_NODE, dac0) && \
	DT_NODE_HAS_PROP(ZEPHYR_USER_NODE, dac_channel_id) && \
	DT_NODE_HAS_PROP(ZEPHYR_USER_NODE, dac_resolution))
#define DAC_NODE DT_PHANDLE(ZEPHYR_USER_NODE, dac0)
#define DAC_CHANNEL_ID DT_PROP(ZEPHYR_USER_NODE, dac_channel_id)
#define DAC_RESOLUTION_BITS DT_PROP(ZEPHYR_USER_NODE, dac_resolution)
#else
#error "Unsupported board: see README and check /zephyr,user node"
#define DAC_NODE DT_INVALID_NODE
#define DAC_CHANNEL_ID 0
#define DAC_RESOLUTION_BITS 0
#endif

static const struct device *const dac_dev = DEVICE_DT_GET(DAC_NODE);

static uint16_t max_dac_value = BIT(DAC_RESOLUTION_BITS) - 1;

int init_dac(void)
{
	int ret;
	const struct dac_channel_cfg dac_ch_cfg = {
		.channel_id  = DAC_CHANNEL_ID,
		.resolution  = DAC_RESOLUTION_BITS,
	#if defined(CONFIG_DAC_BUFFER_NOT_SUPPORT)
		.buffered = false,
	#else
		.buffered = true,
	#endif /* CONFIG_DAC_BUFFER_NOT_SUPPORT */
	};

	LOG_INF("Initializing DAC for %u bit operation. Max value %u", DAC_RESOLUTION_BITS, max_dac_value);

	/* Can we use the DAC? */
	if (!device_is_ready(dac_dev)) {
		LOG_ERR("DAC device %s is not ready", dac_dev->name);
		return -1;
	}

	/* Set it up */
	ret = dac_channel_setup(dac_dev, &dac_ch_cfg);
	if (ret != 0) {
		LOG_ERR("Setting up of DAC channel failed with code %d", ret);
	}

	return ret;
}

int write_dac(uint16_t value)
{
	int ret;
	/* Number of valid DAC values, e.g. 4096 for 12-bit DAC */
	//const int dac_values = 1U << DAC_RESOLUTION_BITS;

	ret = dac_write_value(dac_dev, DAC_CHANNEL_ID, value);
	if (ret != 0) {
		LOG_ERR("dac_write_value() failed with code %d", ret);
	}
	return ret;
}

uint16_t get_dac_max_value(void)
{
	return max_dac_value;
}
```

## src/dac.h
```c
#if !defined(_DAC_H_)
#define _DAC_H_

int init_dac(void);

int write_dac(uint16_t value);

uint16_t get_dac_max_value(void);

#endif
```

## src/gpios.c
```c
#include <zephyr/kernel.h>

#include <zephyr/device.h>
#include <zephyr/devicetree.h>
#include <zephyr/drivers/gpio.h>
#include <zephyr/logging/log.h>
#if defined(CONFIG_CAN)
#include <canopennode.h>
#endif

#include "gpios.h"

LOG_MODULE_REGISTER(gpios, CONFIG_MAG_GPIO_LOG_LEVEL);

/* === GPIO data === */
#define BP_NODE DT_NODELABEL(maggpios)

const struct gpio_dt_spec mt_en = GPIO_DT_SPEC_GET(BP_NODE, mt_en_gpios);
const struct gpio_dt_spec n_mt_en_fault = GPIO_DT_SPEC_GET(BP_NODE, n_mt_en_fault_gpios);
const struct gpio_dt_spec n_mt_stby_rst = GPIO_DT_SPEC_GET(BP_NODE, n_mt_stby_rst_gpios);
const struct gpio_dt_spec mt_x_phase = GPIO_DT_SPEC_GET(BP_NODE, mt_x_phase_gpios);
const struct gpio_dt_spec mt_y_phase = GPIO_DT_SPEC_GET(BP_NODE, mt_y_phase_gpios);
const struct gpio_dt_spec mt_z_phase = GPIO_DT_SPEC_GET(BP_NODE, mt_z_phase_gpios);
const struct gpio_dt_spec hw_rev_bit_0 = GPIO_DT_SPEC_GET(BP_NODE, hw_rev_bit_0_gpios);
const struct gpio_dt_spec hw_rev_bit_1 = GPIO_DT_SPEC_GET(BP_NODE, hw_rev_bit_1_gpios);
const struct gpio_dt_spec hw_rev_bit_2 = GPIO_DT_SPEC_GET(BP_NODE, hw_rev_bit_2_gpios);
const struct gpio_dt_spec tcan_nfault_oc = GPIO_DT_SPEC_GET(BP_NODE, tcan_nfault_oc_gpios);
const struct gpio_dt_spec tcan_silent = GPIO_DT_SPEC_GET(BP_NODE, tcan_silent_gpios);

static unsigned raw_board_rev = HW_REV_1_0_0;

/**************************************************/

int init_gpios(void)
{
	int ret;
	int err = 0;
	static bool initialized = false;

	if (initialized) {
		return 0;
	}
	initialized = true;

	ret = gpio_pin_configure_dt(&hw_rev_bit_0, GPIO_INPUT | GPIO_PULL_UP);
	if (ret) {
		LOG_ERR("Could not configure hw_rev_bit_0 as input with pull up: %d", ret);
		err = ret;
	}
	ret = gpio_pin_configure_dt(&hw_rev_bit_1, GPIO_INPUT | GPIO_PULL_UP);
	if (ret) {
		LOG_ERR("Could not configure hw_rev_bit_1 as input with pull up: %d", ret);
		err = ret;
	}
	ret = gpio_pin_configure_dt(&hw_rev_bit_2, GPIO_INPUT | GPIO_PULL_UP);
	if (ret) {
		LOG_ERR("Could not configure hw_rev_bit_2 as input with pull up: %d", ret);
		err = ret;
	}

	raw_board_rev = gpio_pin_get_dt(&hw_rev_bit_0) << 0 |
				gpio_pin_get_dt(&hw_rev_bit_1) << 1 |
				gpio_pin_get_dt(&hw_rev_bit_2) << 2;

	LOG_INF("Board Rev %u", get_board_hw_rev());

	return err;
}

int init_can_gpios(void)
{
	int ret;
	int err = 0;
	static bool gc_initialized = false;

	if (gc_initialized) {
		return 0;
	}
	gc_initialized = true;

	ret = gpio_pin_configure_dt(&tcan_nfault_oc, GPIO_INPUT | GPIO_PULL_UP); // goes high on fault; v1.1+ boards only
	if (ret) {
		LOG_ERR("Could not configure tcan_nfault_oc as input with pull up: %d", ret);
		err = ret;
	}

	ret = gpio_pin_configure_dt(&tcan_silent, GPIO_OUTPUT_INACTIVE); // put silent in disabled (normal) mode
	if (ret) {
		LOG_ERR("Could not configure tcan_silent as output inactive: %d", ret);
		err = ret;
	}

	return err;
}

int init_mt_gpios(void)
{
	int ret;
	int err = 0;
	static bool gm_initialized = false;

	if (gm_initialized) {
		return 0;
	}
	gm_initialized = true;

	err = gpio_pin_set_dt(&mt_en, false); // disable the STSPIN250s
	if (err) {
		LOG_ERR("Error setting mt_en low: %d", err);
		return err;
	}
	ret = gpio_pin_configure_dt(&n_mt_en_fault, GPIO_INPUT);
	if (ret) {
		LOG_ERR("Could not configure n_mt_en_fault as input: %d", ret);
		err = ret;
	}
	ret = gpio_pin_configure_dt(&n_mt_stby_rst, GPIO_OUTPUT_INACTIVE);
	if (ret) {
		LOG_ERR("Could not configure n_mt_stby_rst as output inactive: %d", ret);
		err = ret;
	}
	// NOTE: the device tree should set the x/y/z_phase lines as active low, to fix logical-sense of the remainder of this code.
	ret = gpio_pin_configure_dt(&mt_x_phase, GPIO_OUTPUT_INACTIVE);
	if (ret) {
		LOG_ERR("Could not configure mt_x_phase as output inactive: %d", ret);
		err = ret;
	}
	ret = gpio_pin_configure_dt(&mt_y_phase, GPIO_OUTPUT_INACTIVE);
	if (ret) {
		LOG_ERR("Could not configure mt_y_phase as output inactive: %d", ret);
		err = ret;
	}
	ret = gpio_pin_configure_dt(&mt_z_phase, GPIO_OUTPUT_INACTIVE);
	if (ret) {
		LOG_ERR("Could not configure mt_z_phase as output inactive: %d", ret);
		err = ret;
	}

	return err;
}


board_hw_rev_t get_board_hw_rev(void)
{
	if (raw_board_rev == 7) { // no rev pins hooked up, so the pullups on the inputs make these all read as 1
		return HW_REV_1_0_0;
	}
	// Otherwise, believe the value; if hardware init failed earlier, we return HW_REV_1_0_0.
	return (board_hw_rev_t)raw_board_rev;
}

int set_can_silent(void)
{
	if (get_board_hw_rev() != HW_REV_1_0_0) {
		return gpio_pin_configure_dt(&tcan_silent, GPIO_OUTPUT_ACTIVE); // drive the pin high
	}
	return 0;
}

int set_can_normal(void)
{
	if (get_board_hw_rev() != HW_REV_1_0_0) {
		return gpio_pin_configure_dt(&tcan_silent, GPIO_OUTPUT_INACTIVE); // drive the pin low
	}
	return 0;
}

bool get_can_fault(void)
{
	if (get_board_hw_rev() != HW_REV_1_0_0) {
		return gpio_pin_get_dt(&tcan_nfault_oc) != 0; // high == fault
	}
	return false;
}

bool check_magnetorquer_fault(void)
{
	bool fault;
	static int print_count = 0;

	fault = gpio_pin_get_dt(&n_mt_en_fault);
	if (!fault) {
		if (print_count < 10) {
			LOG_WRN("Fault on magnetorquer driver(s)!");
			print_count++;
		}

		// TODO: ask Andrew if this is ok to do. It wasn't in the old code.
		// LOG_INF("Resetting magnetorquer drivers.");
		// (void)reset_magnetorquer();
	} else {
		print_count = 0;
	}
	return !fault;
}
```

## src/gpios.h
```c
#ifndef _GPIOS_H_
#define _GPIOS_H_

typedef enum {
	HW_REV_1_0_0 = 0,	// board revision 0.0.0
	HW_REV_1_1_0 = 1	// board revision 1.1.0
} board_hw_rev_t;

// TODO: refactor the use of these gpio_dt_specs from magnetorquers.c
extern const struct gpio_dt_spec mt_en;
extern const struct gpio_dt_spec n_mt_en_fault;
extern const struct gpio_dt_spec n_mt_stby_rst;
extern const struct gpio_dt_spec mt_x_phase;
extern const struct gpio_dt_spec mt_y_phase;
extern const struct gpio_dt_spec mt_z_phase;
extern const struct gpio_dt_spec hw_rev_bit_0;
extern const struct gpio_dt_spec hw_rev_bit_1;
extern const struct gpio_dt_spec hw_rev_bit_2;
extern const struct gpio_dt_spec tcan_nfault_oc;
extern const struct gpio_dt_spec tcan_silent;

/**
 * @brief Initialize general gpios
 *
 * This initializes GPIOs that most modules care about.
 *
 * @return int - nonzero value if any GPIO pin could not be
 *  	   successfully configured, 0 otherwise.
 */
int init_gpios(void);

/**
 * @brief Initialize CAN gpios
 *
 * This initializes GPIOs specific to CAN.
 *
 * @return int - nonzero value if any GPIO pin could not be
 *  	   successfully configured, 0 otherwise.
 */
int init_can_gpios(void);

/**
 * @brief Initialize Magnetorquer gpios
 *
 * This initializes GPIOs that the magnetorquer module cares
 * about.
 *
 * @return int - nonzero value if any GPIO pin could not be
 *  	   successfully configured, 0 otherwise.
 */
int init_mt_gpios(void);

board_hw_rev_t get_board_hw_rev(void);

int set_can_silent(void);

int set_can_normal(void);

bool get_can_fault(void);

bool check_magnetorquer_fault(void);

#endif
```

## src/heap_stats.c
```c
#include <zephyr/kernel.h>

extern struct k_heap _system_heap;

#include <zephyr/logging/log.h>
LOG_MODULE_REGISTER(heap_stats, LOG_LEVEL_INF);

void print_heap_stats(void)
{
	int err;
	struct sys_memory_stats stats;

	err = sys_heap_runtime_stats_get(&_system_heap.heap, &stats);
	if (err) {
		LOG_ERR("Failed to read kernel system heap statistics (err %d)", err);
		return;
	}

	LOG_INF("free:           %zu", stats.free_bytes);
	LOG_INF("allocated:      %zu", stats.allocated_bytes);
	LOG_INF("max. allocated: %zu", stats.max_allocated_bytes);
}
```

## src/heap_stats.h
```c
#ifndef _HEAP_STATS_
#define _HEAP_STATS_

void print_heap_stats(void);

#endif
```

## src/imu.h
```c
#ifndef _IMU_H_
#define _IMU_H_

bool is_imu_ready(void);

// x, y, and z are in units of milli-degrees per second.
// temp is in centigrade
void get_gyro_data(int16_t *x, int16_t *y, int16_t *z, int16_t *temp);

// x, y, and z are in units of milli-Gs
void get_accel_data(int16_t *x, int16_t *y, int16_t *z);

#endif
```
